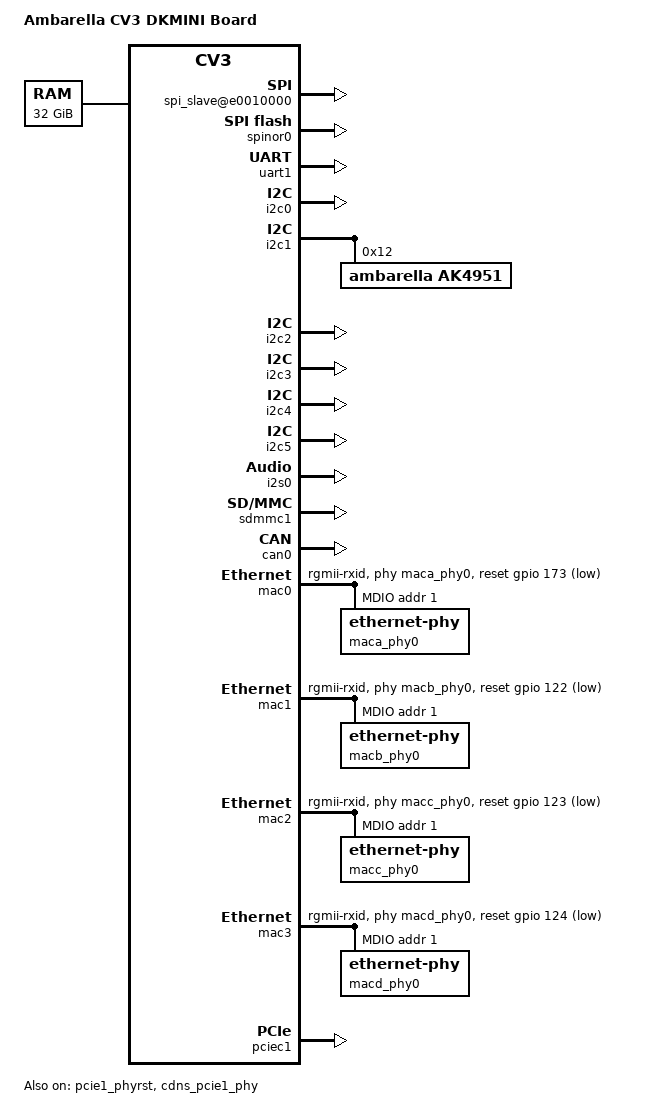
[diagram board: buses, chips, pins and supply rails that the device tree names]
/*
 * board level device tree source
 */

/dts-v1/;

/include/ "ambarella-cv3.dtsi"
/include/ "ambarella-cv3-uboot.dtsi"

/ {
	model = "Ambarella CV3 DKMINI Board";
	compatible = "ambarella,cv3bub", "ambarella,cv3";

	aliases {
		flexidag_sys = &cv_sys_mem;
		flexidag_rtos = &cv_rtos_mem;
		scheduler = &sub_scheduler;
	};

	amba_mal {
		compatible = "ambarella,mal";
		amb_mal_node@0 {
			amb_mal_id = <0>;
			memory-region = <&cv_sys_mem>;
		};

		amb_mal_node@1 {
			amb_mal_id = <1>;
			memory-region = <&cv_rtos_mem>;
		};

		amb_mal_node@2 {
			amb_mal_id = <3>;
			memory-region = <&dsp_data_buf>;
		};
	};

	sub_scheduler: sub_scheduler0 {
		compatible = "ambarella,sub-scheduler";
		interrupts = <0 44 0x4>;
		memory-region = <&cv_sys_mem>;
		memory-region1 = <&cv_rtos_mem>;
	};

	reserved-memory {
		cv_sys_mem: flexidag_sys {
		};
		cv_rtos_mem: flexidag_rtos {
		};
	};

	gpu: gpu@4e20010000 {
		compatible = "ambarella,pvr-gpu";
		#address-cells = <2>;
		#size-cells = <2>;
		reg = <0xff 0xf5000000 0x00 0x80000>;
		interrupts = <0 433 0x1>;
		clocks = <&gclk_gpu>;
	};

	memory {
		device_type = "memory";
		/*reg = <0x0 0x200000 0x0 0x7fe00000 0x01 0x00 0x03 0x00>;*/
		reg = <0x0 0x0 0x8 0x0>;
	};

	ahb@ffe0000000 {
		spi_slave@e0010000 {
			status = "ok";
		};
	};

	sound {
		compatible = "simple-audio-card";
		simple-audio-card,name = "ak4951 @ AMBEVK";
		simple-audio-card,mclk-fs = <256>;
		simple-audio-card,widgets =
		"Speaker", "Speaker",
		"Headphone", "HP Jack",
		"Line", "Line In",
		"Line", "Line Out",
		"Microphone", "Mic Internal",
		"Microphone", "Mic External";
		simple-audio-card,routing =
		"LIN2", "Mic Bias",
		"RIN2", "Mic Bias",
		"Mic Bias", "Mic Internal",
		"LIN3", "Line In",
		"RIN3", "Line In",
		"Line Out", "SPKLO",
		"HP Jack", "HPL",
		"HP Jack", "HPR",
		"Speaker", "SPKLO";
		status = "disabled";

		simple-audio-card,dai-link@0 {
			format = "i2s";

			cpu {
				sound-dai = <&i2s0>;
			};

			codec {
				sound-dai = <&ak4951>;
			};
		};
	};



	apb@ffe4000000 {
		ir@e4001000 {
			status = "ok";
		};
	};
};

&nand0 {
        status = "disabled";
};


&spinor0 {
        status = "okay";
};

&uart1 {
	status = "ok";
	pinctrl-0 = <&uart1_pins_b &uart1_flow_pins_b>;
};

&i2c0 {
	status = "ok";
};

&i2c1 {
	pinctrl-0 = <&i2c1_pins_a>;
	status = "ok";

	ak4951: codec@12 {
		compatible = "ambarella,ak4951";
		#sound-dai-cells = <0>;
		reg = <0x12>;
	};
};

&i2c2 {
	status = "ok";
};

&i2c3 {
	status = "ok";
};

&i2c4 {
	status = "ok";
};

&i2c5 {
	status = "ok";
};

/delete-node/ &wdt_pins_b;

&i2cs {
    /delete-property/ pinctrl-0;
};

&hdmi {
	amb,i2c-adapter = <2>;
};

&i2s0 {
	status = "ok";
};

&spi0 {
    /delete-property/ pinctrl-0;
    status = "disabled";
};

&i2s0 {
	status = "ok";
};

&sdmmc0 {
	pwr-gpios = <&gpio 144 0x0>;
	v18-gpios = <&gpio 145 0x0>;
};

&sdmmc1 {
	pwr-gpios = <&gpio 146 0x0>;
	v18-gpios = <&gpio 147 0x0>;
	status = "ok";
};

&can0 {
	status = "ok";
};

/*
&can1 {
	status = "ok";
};
*/

/*
&usb_cdnsp {
	pinctrl-names = "default";
	pinctrl-0 = <&usb_host0_pins_f>;
};
*/

&mac0 {
	/*
		func stmmac_mdio_reset() reset phy : cv3bub: SW7.4=1
		snps,reset-gpio=<&gpio 54 1>; 1 GPIO_ACTIVE_LOW; 0:GPIO_ACTIVE_HIGH
		ref: drivers/gpio/gpiolib-of.c: of_gpio_flags_quirks
		power-on_control: mcu->PERI_PWREN=1; ENET_VCC3V3

		rx-internal-delay-ps  pico-seconds
		tx-internal-delay-ps  pico-seconds
		rgmii-rxid	only rx delay add by phy(ref-phy-hardware)
		rgmii-txid	only tx delay add by phy(in-phy-reg)
		rgmii-id 	both tx/rx delay add by phy
		rgmii		both tx/rx delay add by mac

		mac-address = [00 11 22 33 44 55];
	*/
	status = "ok";
	snps,reset-gpio = <&gpio 173 1>;
	snps,reset-active-low;
	snps,reset-delays-us = <0 150000 100000>;
	phy-handle = <&maca_phy0>;
	phy-mode = "rgmii-rxid";
	mdio {
		#address-cells = <1>;
		#size-cells = <0>;
		compatible = "snps,dwmac-mdio";
		maca_phy0: ethernet-phy@0 {
			reg = <1>;
		};
	};
};

&mac1 {
	status = "ok";
	snps,reset-gpio = <&gpio 122 1>;
	snps,reset-active-low;
	snps,reset-delays-us = <0 150000 100000>;
	phy-handle = <&macb_phy0>;
	phy-mode = "rgmii-rxid";
	mdio {
		#address-cells = <1>;
		#size-cells = <0>;
		compatible = "snps,dwmac-mdio";
		macb_phy0: ethernet-phy@0 {
			reg = <1>;
		};
	};
};

&mac2 {
	status = "ok";
	snps,reset-gpio = <&gpio 123 1>;
	snps,reset-active-low;
	snps,reset-delays-us = <0 150000 100000>;
	phy-handle = <&macc_phy0>;
	phy-mode = "rgmii-rxid";
	mdio {
		#address-cells = <1>;
		#size-cells = <0>;
		compatible = "snps,dwmac-mdio";
		macc_phy0: ethernet-phy@0 {
			reg = <1>;
		};
	};
};

&mac3 {
	status = "ok";
	snps,reset-gpio = <&gpio 124 1>;
	snps,reset-active-low;
	snps,reset-delays-us = <0 150000 100000>;
	phy-handle = <&macd_phy0>;
	phy-mode = "rgmii-rxid";
	mdio {
		#address-cells = <1>;
		#size-cells = <0>;
		compatible = "snps,dwmac-mdio";
		macd_phy0: ethernet-phy@0 {
			reg = <1>;
		};
	};
};

&pcie1_phyrst {
	status = "ok";
};

&pciec1 {
    status = "ok";
};

&pcie1_udma {
    status = "ok";
};

&cdns_pcie1_phy {
    status = "ok";
};
